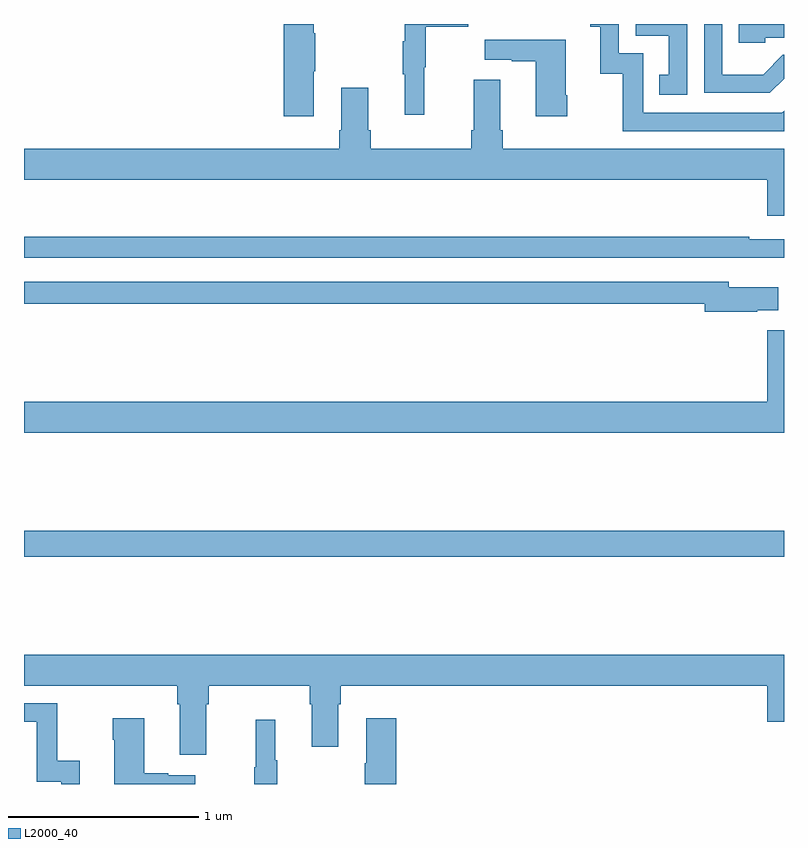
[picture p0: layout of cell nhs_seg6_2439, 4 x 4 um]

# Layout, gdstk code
import gdstk
lib = gdstk.Library(unit=1e-6, precision=1e-09)
def R(c, l, rs):  # rectangles x0, y0, x1, y1
    for r in rs: c.add(gdstk.rectangle(r[:2], r[2:], *l))
def P(c, l, *ps):  # polygons
    for p in ps: c.add(gdstk.Polygon(p, *l))
L2000_40 = (2000, 40)

nhs_seg6_2439 = lib.new_cell('nhs_seg6_2439')
R(nhs_seg6_2439, L2000_40, [(257,934.696,261,934.832)])
P(nhs_seg6_2439, L2000_40, [(261,937.211),(261,937.338),(260.994,937.338),(260.89,937.234),(260.676,937.234),(260.676,937.5),(260.58,937.5),(260.58,937.137),(260.926,937.137)],
  [(259.106,937.272),(259.114,937.272),(259.114,937.486),(259.337,937.486),(259.337,937.5),(259.004,937.5),(259.004,937.409),(258.993,937.409),(258.993,937.235),(259.004,937.235),(259.004,937.023),(259.106,937.023)],
  [(261,937.044),(260.988,937.032),(260.259,937.032),(260.259,937.347),(260.13,937.347),(260.13,937.5),(259.98,937.5),(259.98,937.485),(260.033,937.485),(260.033,937.239),(260.151,937.239),(260.151,936.936),(261,936.936)],
  [(260.49,937.5),(260.22,937.5),(260.22,937.437),(260.393,937.437),(260.393,937.233),(260.344,937.233),(260.344,937.128),(260.49,937.128)],
  [(260.901,937.428),(261,937.428),(261,937.5),(260.761,937.5),(260.761,937.401),(260.901,937.401)],
  [(258.526,937.252),(258.534,937.252),(258.534,937.451),(258.526,937.451),(258.526,937.5),(258.368,937.5),(258.368,937.014),(258.526,937.014)],
  [(259.86,937.126),(259.852,937.126),(259.852,937.417),(259.425,937.417),(259.425,937.313),(259.568,937.313),(259.568,937.303),(259.694,937.303),(259.694,937.014),(259.86,937.014)],
  [(261,936.844),(259.52,936.844),(259.52,936.94),(259.507,936.94),(259.507,937.207),(259.367,937.207),(259.367,936.94),(259.355,936.94),(259.355,936.844),(258.824,936.844),(258.824,936.94),(258.811,936.94),(258.811,937.165),(258.671,937.165),(258.671,936.94),(258.659,936.94),(258.659,936.844),(257,936.844),(257,936.68),(260.912,936.68),(260.912,936.492),(261,936.492)],
  [(261,936.366),(260.816,936.366),(260.816,936.379),(257,936.379),(257,936.27),(260.806,936.27),(260.806,936.269),(261,936.269)],
  [(260.858,935.993),(260.971,935.993),(260.971,936.115),(260.71,936.115),(260.71,936.144),(257,936.144),(257,936.028),(260.582,936.028),(260.582,935.986),(260.858,935.986)],
  [(261,935.887),(260.912,935.887),(260.912,935.512),(257,935.512),(257,935.348),(261,935.348)],
  [(257.959,933.92),(257.972,933.92),(257.972,934.016),(258.503,934.016),(258.503,933.92),(258.515,933.92),(258.515,933.696),(258.655,933.696),(258.655,933.92),(258.668,933.92),(258.668,934.016),(260.912,934.016),(260.912,933.828),(261,933.828),(261,934.18),(257,934.18),(257,934.016),(257.807,934.016),(257.807,933.92),(257.819,933.92),(257.819,933.654),(257.959,933.654)],
  [(257.294,933.622),(257.176,933.622),(257.176,933.924),(257,933.924),(257,933.828),(257.067,933.828),(257.067,933.513),(257.196,933.513),(257.196,933.5),(257.294,933.5)],
  [(257.902,933.547),(257.759,933.547),(257.759,933.557),(257.632,933.557),(257.632,933.847),(257.467,933.847),(257.467,933.734),(257.474,933.734),(257.474,933.5),(257.902,933.5)],
  [(258.959,933.847),(258.8,933.847),(258.8,933.608),(258.793,933.608),(258.793,933.5),(258.959,933.5)],
  [(258.334,933.625),(258.323,933.625),(258.323,933.838),(258.22,933.838),(258.22,933.588),(258.213,933.588),(258.213,933.5),(258.334,933.5)])

lib.write_gds('nhs_seg6_2439.gds')
